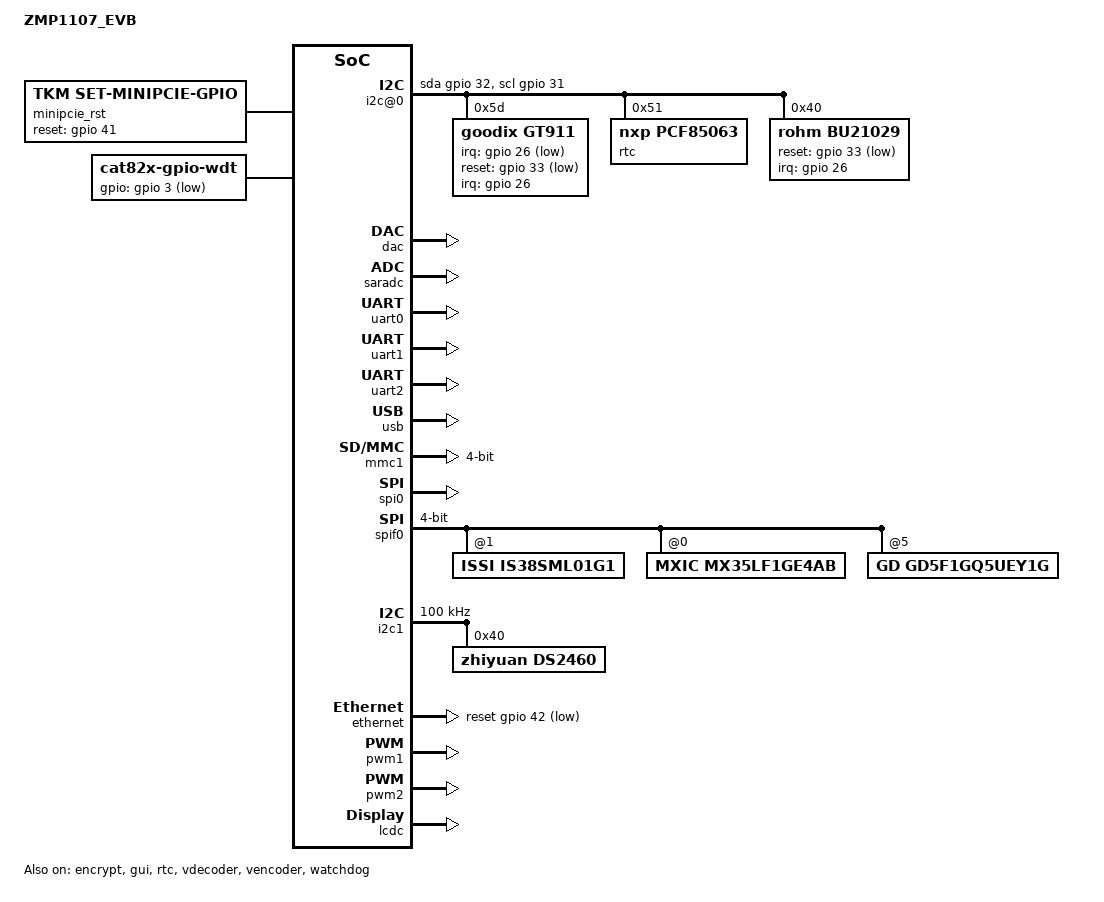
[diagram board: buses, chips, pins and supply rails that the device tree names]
/*
 * ZMP1107_EVB board rgb lcd dts
 *
 * This program is free software; you can redistribute it and/or modify
 * it under the terms of the GNU General Public License as published by
 * the Free Software Foundation; either version 2 of the License, or
 * (at your option) any later version.
 *
 * This program is distributed in the hope that it will be useful,
 * but WITHOUT ANY WARRANTY; without even the implied warranty of
 * MERCHANTABILITY or FITNESS FOR A PARTICULAR PURPOSE.  See the
 * GNU General Public License for more details.
 */

/dts-v1/;
#include "zmp1107.dtsi"

/ {
    compatible = "zlgmcu,zmp110x";
    model = "ZMP1107_EVB";
	version = "V1.0.00";

/*
    leds {
		compatible = "gpio-leds";
		pinctrl-names = "default";
		pinctrl-0 = <&run_led_pins>;
        status = "okay";
		led0: cpu {
			label = "cpu";
			gpios = <&gpio 3 1>;
			default-state = "on";
			linux,default-trigger = "heartbeat";
		};
	};
*/
    ramdisk:ramdisk{
        compatible = "zlgmcu,zmp110x-ramdisk";
        memory-region = <&dma_reserved>;
        status = "disable";
    };

    minipcie_rst:minipcie_rst{
        compatible = "TKM,Set-Minipcie-Gpio";
        pinctrl-names = "default";
        pinctrl-0 = <&minipcie_reset_pins>;
        reset-gpios = <&gpio 41 0>;
    };    
/*
    watchdog: watchdog {
        compatible = "linux,wdt-gpio";
        gpios = <&gpio 3 GPIO_ACTIVE_LOW>;
        pinctrl-names = "default";
        pinctrl-0 = <&wdt_pins>;
        hw_algo = "toggle";
        hw_margin_ms = <1500>;
        always-running;
    };
*/
	
	wdt: wdt {                                                                                                                                                             
	    compatible = "cat82x-gpio-wdt";
	    gpios = <&gpio 3 GPIO_ACTIVE_LOW>;
		pinctrl-names = "default";
		pinctrl-0 = <&wdt_pins>;
		hw_margin_ms = <700>;
	};


    i2c@0 {
        compatible = "i2c-gpio";
        pinctrl-names = "default";
        pinctrl-0 = <&i2c0_pins>;
        gpios = <&gpio 32 0 /* sda */
                &gpio 31 0 /* scl */
                >;
        i2c-gpio,sda-open-drain;
        i2c-gpio,scl-open-drain;
        i2c-gpio,delay-us = <2>;    /* ~100 kHz */
        #address-cells = <1>;
        #size-cells = <0>;

        gt911@5d {
	    compatible = "goodix,gt911";
	    reg = <0x5d>;
	    pinctrl-names = "default";
        pinctrl-0 = <&touch_pins>;
        irq-gpio = <&gpio 26 1>;
        reset-gpio = <&gpio 33 1>;
        interrupts = <26 2>;
        interrupt-parent = <&gpio>;
        status = "okay";
        
        goodix,cfg-group0 = [         
            ff 20 03 e0 01 05 0d 00 01 08 28 05 50 
            32 03 05 00 00 00 00 00 00 00 00 00 00 
            00 8b 2a 0c 17 15 31 0d 00 00 02 ba 03 
            2c 00 00 00 00 00 03 00 00 00 00 00 0f 
            41 94 c5 02 07 00 00 04 9b 11 00 77 17 
            00 5c 1f 00 48 2a 00 3b 38 00 3b 00 00 
            00 00 00 00 00 00 00 00 00 00 00 00 00 
            00 00 00 00 00 00 00 00 00 00 00 00 00
            00 00 00 00 00 00 00 00 02 04 06 08 0a 
            0c 0e 10 12 14 16 18 ff ff 00 00 00 00 
            00 00 00 00 00 00 00 00 00 00 00 00 00 
            02 04 06 08 0a 0c 0f 10 12 13 16 18 1c 
            1d 1e 1f 20 21 22 24 ff ff ff ff ff 00 
            00 00 00 00 00 00 00 00 00 00 00 00 00 
            00 00 59 01
        ];
        
	};  

    
    rtc@51 {
		compatible = "nxp,pcf85063";
		reg = <0x51>;
	}; 

    bu21029@40 {
			compatible = "rohm,bu21029";
			reg = <0x40>;
            pinctrl-names = "default";
            pinctrl-0 = <&touch_pins>;
			interrupt-parent = <&gpio>;
			interrupts = <26 2>;
			reset-gpios = <&gpio 33 GPIO_ACTIVE_LOW>;
			rohm,x-plate-ohms = <600>;
			touchscreen-size-x = <800>;
			touchscreen-size-y = <480>;
			touchscreen-max-pressure = <4095>;
		}; 
    };                                                                                                                                                                                         

};
/*--------------------------------------ZMP110x 片内外设-----------------------------------------*/
&dac {
    /*pinctrl-names = "default";
     pinctrl-0 = <&speak_pins>;
    
    ** speak-down,linein-detect,hp-mute,hp-detect
    ** 1 means enable these four function
    ** 0 means disable these four function
    */
    speak-down = <1>;
    linein-detect = <0>;
    hp-mute = <0>;
    hp-detect = <0>;
    /*speak-gpios = <&gpio 90 1>;
    the level of speak-gpios votage for power on audio: 0=low, 1=high*/
    speak-gpios-en = <1>;
    //linein-gpios = <&gpio 54 1>;    
    status = "okay";
};

&encrypt{
   /*
    * encrypt-mode
    * 0 = CRYPTO_SINGLE_GROUP_MODE ; 1 = CRYPTO_MULTI_GROUP_MODE
    */
    encrypt-mode = <1>;
    status = "okay";
};

&gui {
    status = "okay";
};

&rtc {
	/*
	 * rtc osc_source_select, 1 means INTERNAL RC OSC, 0 means EXTERNAL XTAL
	 * if internal RC OSC is used to generate 32KH,time adjustment should be setting.(basic unit: ms)
	 */
	osc-select = <0>;
	//adjust-time = <120000>;
	status = "okay";
};


&saradc{
    /* SAR ADC VREF selection
    * 0:To select AVCC 3.3V as VREF for SAR ADC.
    * 1:To select 3.0V generated from BGR as VREF for SAR ADC.
    */
    vref-select = <0>;
    /*
    * 0:To disable BAT voltage divider. 
    * 1:To enable BAT voltage divider divided by 2.
    */
    battery-divider = <1>;
    /*
    * Sampling number
    * Read the sampling data for N times and then calculate the average value.
    * N ranges from 1 to 7.
    */
     sampling-num = <3>;
     status = "okay";
};

&uart0 {
    pinctrl-names = "default";
	pinctrl-0 = <&uart0_pins>;
    status = "okay";
};

&uart1 {
	pinctrl-names = "default";
	pinctrl-0 = <&uart1_pins &rs485_dir_pins>;
	dir-gpios = <&gpio 40 1>; 
	status = "okay";
};


&uart2 {
	pinctrl-names = "default";
	pinctrl-0 = <&uart2_pins>;
	status = "okay";
};


&usb {
    status = "okay"; 
};

&vdecoder {
    status = "okay";
};

&vencoder {
    status = "okay";
};

&watchdog {
	/*max feed dog time = 357s, default setting time = 10s. */
    def_heartbeat = <10>;
    status = "okay";
};


/*-----------------------------------------------板载外设------------------------------------------------*/
&mmc1 {
    bus-width = <0x4>;
    max-frequency = <120000000>;
    pinctrl-names = "default";
    pinctrl-0 = <&mci1_pins &sd_detect_gpios>;
    detect-gpio = <&gpio 121 1>; 
    cap-sd-highspeed;
    status = "okay";
};

&spi0 {
    pinctrl-names = "default";
    pinctrl-0 = <&spiflash_pins>;
    cs-gpios = <&gpio 12 1>;
    spi-bus-frequency = <80000000>;
    /*
     * cap-spi-highspeed;
     * if defined, means high speed controller(Maximum 80M/s);
     * if not, means normal speed controller(below 60M/s)
     */
    cap-spi-highspeed;
    status = "okay";
};
&spif0 {
    compatible = "zlgmcu,zmp-spinand";//nand flash
	/* spi flash data bus width:
	** 1 means 1 wire mode.
	** 2 means 2 wire mode
	** 4 means 4 wire mode.
	** default: 4 wire mode.
	**/
	bus-width = <4>;
	status = "okay";

    IS38SML01G1: spi-nandflash@1 { 
		compatible = "ISSI,IS38SML01G1";
		nandflash-name = "IS38SML01G1";
		
		/* spiflash IS38SML01G1 */
		nandflash-jedec-id = <0xc8217f7f>; 
		nandflash-ext-id = <0>;
		nandflash-planecnt = <1>;
		nandflash-page_size = <2048>;
		nandflash-page_per_block = <64>;
		nandflash-block_size = <0x20000>;
		nandflash-n_blocks = <1024>;
		nandflash-oob_size = <64>;		  
		nandflash-oob_up_skiplen = <0>;
		nandflash-oob_seglen = <8>;
		nandflash-oob_down_skiplen = <8>;	
		nandflash-oob_seg_perpage = <4>;
		nandflash-oob_vail_data_offset = <8>;

		/*
		* flags = SFLAG_DUAL_READ|SFLAG_QUAD_READ|SFLAG_QUAD_WRITE
		* = 0x8A0
		*/
		nandflash-flags = <0x8A0>;
		nandflash-b_wip = <0>;		
		nandflash-b_wel = <1>;
		nandflash-b_efail = <2>;
		nandflash-b_pfaile = <3>;
		/*nandflash-b_qe = <8>; 	*/

		/* bad block flag ops */
		nandflash-badflag_offs = <0>;
		nandflash-badflag_len = <1>;

		/*
		 * 0x00000000:scan first one page
		 * 0x00008000:scan first two page
		 * 0x00010000:scan last  one page
		 * 0x00018000:scan last  two page
		 * 0x01000000:scan first and last page
		 */
		nandflash-badflag_option = <0x00008000>;	
		
		status = "okay";
	};

    MX35LF1GE4AB: spi-nandflash@0 { 
		compatible = "MXIC,MX35LF1GE4AB";
		nandflash-name = "MX35LF1GE4AB";
		
		/* spiflash MX35LF1GE4AB */
		nandflash-jedec-id = <0xc212c212>; 
		nandflash-ext-id = <0>;
		nandflash-page_size = <2048>;
		nandflash-page_per_block = <64>;
		nandflash-block_size = <0x20000>;
		nandflash-n_blocks = <1024>;
		nandflash-oob_size = <64>;		  
		nandflash-oob_up_skiplen = <0>;
		nandflash-oob_seglen = <12>;
		nandflash-oob_down_skiplen = <4>;
		nandflash-oob_seg_perpage = <4>;
		nandflash-oob_vail_data_offset = <4>;

		/*
		* flags = SFLAG_DUAL_READ|SFLAG_QUAD_READ|SFLAG_QUAD_WRITE
		* = 0x8A0
		*/
		nandflash-flags = <0x0>;

		/* status reg bit map */
		nandflash-b_wip = <0>;		
		nandflash-b_wel = <1>;		
		nandflash-b_efail = <2>;		
		nandflash-b_pfail = <3>;		
		nandflash-b_bp2 = <4>;		
		nandflash-b_bp3 = <5>;		
		nandflash-b_bp4 = <6>;		
		nandflash-b_srp0 = <7>; 	
		
		nandflash-b_qe = <8>; 	
		nandflash-b_srp1 = <9>;		
		nandflash-b_lb = <10>;		

		nandflash-b_cmp = <14>; 	
		nandflash-b_sus = <15>; 		

		/* bad block flag ops */
		nandflash-badflag_offs = <0>;
		nandflash-badflag_len = <1>;
		
		/*
		 * 0x00000000:scan first one page
		 * 0x00008000:scan first two page
		 * 0x00010000:scan last  one page
		 * 0x00018000:scan last  two page
		 * 0x01000000:scan first and last page
		 */
		nandflash-badflag_option = <0x01000000>;
		status = "okay";
	};

    GD5F1GQ5UEY1G: spi-nandflash@5 { 

		compatible = "GD,GD5F1GQ5UEY1G";
		nandflash-name = "GD5F1GQ5UEY1G";

		/* spiflash GD5F1GQ5UEY1G */
		nandflash-jedec-id = <0xc851c851>; 
		nandflash-ext-id = <0>;
		nandflash-planecnt = <1>;
		nandflash-page_size = <2048>;
		nandflash-page_per_block = <64>;
		nandflash-block_size = <0x20000>;
		nandflash-n_blocks = <1024>;
		nandflash-oob_size = <64>;		  
		nandflash-oob_up_skiplen = <0>;
		nandflash-oob_seglen = <12>;
		nandflash-oob_down_skiplen = <4>;	
		nandflash-oob_seg_perpage = <4>;
		nandflash-oob_vail_data_offset = <4>;

		/*
		* flags = SFLAG_DUAL_READ|SFLAG_QUAD_READ|SFLAG_QUAD_WRITE
		* = 0x8A0
		*/
		nandflash-flags = <0x8A0>;

		nandflash-b_wip = <0>;		

		nandflash-b_qe = <8>; 	

		/* bad block flag ops */

		nandflash-badflag_offs = <0>;
		nandflash-badflag_len = <1>;

		/*

		 * 0x00000000:scan first one page
		 * 0x00008000:scan first two page
		 * 0x00010000:scan last  one page
		 * 0x00018000:scan last  two page
		 * 0x01000000:scan first and last page
		 */

		nandflash-badflag_option = <0x01000000>;	
		status = "okay";

	};
};
/*
&i2c0 {
    pinctrl-names = "default";
    pinctrl-0 = <&i2c0_pins>;

    clock-frequency = <312000>;
    //clock-frequency = <117000>;
    sda-delay = <100>;
    status = "okay";
	#address-cells = <1>;
	#size-cells = <0>;
   
    gt911@5d {
	    compatible = "goodix,gt911";
	    reg = <0x5d>;
	    pinctrl-names = "default";
        pinctrl-0 = <&touch_pins>;
        irq-gpio = <&gpio 26 1>;
        reset-gpio = <&gpio 33 1>;
        interrupts = <26 2>;
        interrupt-parent = <&gpio>;
        status = "okay";
        
        goodix,cfg-group0 = [         
            ff 20 03 e0 01 05 0d 00 01 08 28 05 50 
            32 03 05 00 00 00 00 00 00 00 00 00 00 
            00 8b 2a 0c 17 15 31 0d 00 00 02 ba 03 
            2c 00 00 00 00 00 03 00 00 00 00 00 0f 
            41 94 c5 02 07 00 00 04 9b 11 00 77 17 
            00 5c 1f 00 48 2a 00 3b 38 00 3b 00 00 
            00 00 00 00 00 00 00 00 00 00 00 00 00 
            00 00 00 00 00 00 00 00 00 00 00 00 00
            00 00 00 00 00 00 00 00 02 04 06 08 0a 
            0c 0e 10 12 14 16 18 ff ff 00 00 00 00 
            00 00 00 00 00 00 00 00 00 00 00 00 00 
            02 04 06 08 0a 0c 0f 10 12 13 16 18 1c 
            1d 1e 1f 20 21 22 24 ff ff ff ff ff 00 
            00 00 00 00 00 00 00 00 00 00 00 00 00 
            00 00 59 01
        ];
        
	};  

    
    rtc@51 {
		compatible = "nxp,pcf85063";
		reg = <0x51>;
	};

    bu21029@40 {
			compatible = "rohm,bu21029";
			reg = <0x40>;
            pinctrl-names = "default";
            pinctrl-0 = <&touch_pins>;
			interrupt-parent = <&gpio>;
			interrupts = <26 2>;
			reset-gpios = <&gpio 33 GPIO_ACTIVE_LOW>;
			rohm,x-plate-ohms = <600>;
			touchscreen-size-x = <800>;
			touchscreen-size-y = <480>;
			touchscreen-max-pressure = <4095>;
		}; 
  
};
*/

&i2c1 {
    pinctrl-names = "default";
    pinctrl-0 = <&i2c1_pins>;

//    clock-frequency = <312000>;
    clock-frequency = <100000>;
    sda-delay = <300>;
    status = "okay";
	#address-cells = <1>;
	#size-cells = <0>;

    ds2460@40{
		compatible = "zhiyuan,ds2460";
		reg = <0x40>;
	};
    
};


&ethernet {
    pinctrl-names = "default";
    pinctrl-0 = <&ethernet_pins_rmii &phy_reset_pins>;
    reset-gpios = <&gpio 42 1>;
//   mac-address = [00 04 9F 01 1B B0];
    status = "okay";
};
/*
&pwm3 {
    pinctrl-names = "default";
    pinctrl-0 = <&pwm3_pins>;
    period-ns = <10000000>;
    duty-ns = <10000000>;
    pwm-enable = <1>;
    status = "okay";
};

&pwm4 {
    pinctrl-names = "default";
    pinctrl-0 = <&pwm4_pins>;
    period-ns = <1000000>;
    duty-ns = <500000>;
    pwm-enable = <0>;
    status = "okay";
};
*/

&pwm1 {
    pinctrl-names = "default";
    pinctrl-0 = <&pwm1_pins>;
    period-ns = <10000000>;
    duty-ns = <10000000>;
    pwm-enable = <1>;
    boot_initd = <1>;
    status = "okay";
};

&pwm2 {
    pinctrl-names = "default";
    pinctrl-0 = <&pwm2_pins>;
    period-ns = <1000000>;
    duty-ns = <500000>;
    pwm-enable = <0>;
    status = "okay";
};

&lcdc {
    pinctrl-names = "default";
    //pinctrl-0 = <&lcd_reset_pins>; //lcd_pins for rgb lcd, lcd_reset_pins only for mipi lcd
    pinctrl-0 = <&lcd_pins>;
    
    lcd-logo-width = <800>;
    lcd-logo-height = <480>;
    //[fmt1:fmt0] 00 16bits input(RGB565 or BGR565)
    //[fmt1:fmt0] 01 24bits input(RGB888 or BGR888)
    //[fmt1:fmt0] 10 or 11 32bits input(ARGB888 ABGR888 RGBA888 BGRA888)
    lcd-logo-fmt0 = <1>;
    lcd-logo-fmt1 = <0>;
    lcd-logo-rgb-seq = <1>; //0 for BGR, 1 for RGB  -> output seq ;use for framebuffer rgbseq
    
    lcd-fb-type = <1>; //0:single buffer; 1:double buffer

    lcd-alarm-empty = <128>;//FIFO empty
    lcd-alarm-full = <510>;//FIFO full
    lcd-dma-mode = <1>;
    //lcd-dummy-seq = <0>; //for 8bit rgb panel set
    //lcd-rgb-seq-sel = <0>;
    //lcd-rgb-odd-seq = <0>;
    //lcd-rgb-even-seq = <0>;
    lcd-rgb-tpg-sel = <1>;
    lcd-vpage-en = <0>; //don't support vpage function in driver
    lcd-blank-sel = <0>;
    lcd-pos-blank-level = <0>;
    lcd-neg-blank-level = <0>;
    lcd-rgb-bg-color = <0x00000000>;
    lcd-vh-delay-en = <0>;
    lcd-vh-delay-cycle = <0>;
    lcd-v-unit = <0>;
    lcd-alert-line = <30>;

    status = "okay";
 /*       
    LN48272: lcd-panel@6 { //for RGB panel setting
        panel-if = <0>;
        panel-rgb-seq = <1>; 
        panel-pclk-div = <15>; 
        panel-width = <800>;
        panel-thpw = <1>;
        panel-thb = <46>;
        panel-thf = <100>;
        panel-height = <480>;
        panel-tvpw = <1>;
        panel-tvb = <23>;
        panel-tvf = <22>;
        panel-pclk-pol = <0>; //0:pos, 1:neg
        panel-hsync-pol = <0>;
        panel-vsync-pol = <0>;
        panel-vogate-pol = <0>;
        panel-bus-width = <3>; 
        panel-sync-mode = <1>;
        status = "okay";
    };  */

    LN80480: lcd-panel@6 { //for RGB panel setting
        panel-if = <0>;
        panel-rgb-seq = <1>; 
        panel-pclk-div = <20>;
        panel-width = <800>;
        panel-thpw = <14>;
        panel-thb = <30>;
        panel-thf = <160>;
        panel-height = <480>;
        panel-tvpw = <4>;
        panel-tvb = <23>;
        panel-tvf = <10>;
        panel-pclk-pol = <0>; //0:pos, 1:neg
        panel-hsync-pol = <1>;
        panel-vsync-pol = <1>;
        panel-vogate-pol = <0>;
        panel-bus-width = <3>;
        panel-sync-mode = <1>;
        status = "okay";
    };   
/*
     LN80480: lcd-panel@6 { //for RGB panel setting
        panel-if = <0>;
        panel-rgb-seq = <1>; 
        panel-pclk-div = <15>;
        panel-width = <800>;
        panel-thpw = <4>;
        panel-thb = <46>;
        panel-thf = <150>;
        panel-height = <480>;
        panel-tvpw = <2>;
        panel-tvb = <23>;
        panel-tvf = <120>;
        panel-pclk-pol = <0>; //0:pos, 1:neg
        panel-hsync-pol = <0>;
        panel-vsync-pol = <0>;
        panel-vogate-pol = <0>;
        panel-bus-width = <3>;
        panel-sync-mode = <1>;
        status = "okay";
    }; */
};


&gpio {
    /* zmp,function sharepin func index according to table 2-1 sharepin-list */
    /* index: 0: PIN default func, 1: FUNCTION1, 2: FUNCTION2, 3: FUNCTION3, 4: FUNCTION4 */
    /* zmp,pull config value bit[31:24]--slew rate, bit[23:16]--ie, bit[15:8]--drive, bit[7:0]--pupd config */
    /* bit[31:24]--slew rate, 0: slow, 1: fast */
    /* bit[23:16]--ie, input enable, 0: disable, 1: enable */
    /* bit[15:8]--drive, drive strength, 4levels value: 0x0-0x3 */
    /* bit[7:0]--bit[7]: open drain 0:disable, 1:enable (only for gpio31/32);
				pupd config, bit[6:4] 1:enable/ 0:disable, bit[3:0] 0:select PU /1:select PD */   
 /*    
    pwm0_pins: pwm0_pins {
        zmp,pins = <3>;
        zmp,function = <1>;
        zmp,pull = <0x01011110>;
    };   */

    minipcie_reset_pins:minipcie_reset_pins {
        zmp,pins = <41>;
        zmp,function = <0>;
        zmp,pull = <0x01001110>;
    };    

    wdt_pins:wdt_pins {
        zmp,pins = <3>;
        zmp,function = <0>;
        zmp,pull = <0x01001110>;
    };
/*
    pwm3_pins: pwm3_pins {
        zmp,pins = <27>;
        zmp,function = <2>;
        zmp,pull = <0x01011110>;
    };
 
    pwm4_pins: pwm4_pins {
        zmp,pins = <28>;
        zmp,function = <2>;
        zmp,pull = <0x01011110>;
    };     
*/

    pwm1_pins: pwm1_pins {
        zmp,pins = <38>;
        zmp,function = <2>;
        zmp,pull = <0x01011110>;
    };
 
    pwm2_pins: pwm2_pins {
        zmp,pins = <39>;
        zmp,function = <2>;
        zmp,pull = <0x01011110>;
    };  

    sd_detect_gpios: sd_detect_gpios {
	    //zmp,pins = <80>;
        zmp,pins = <121>;
	    zmp,function = <0>;
        zmp,pull = <0x01010011>;
    };

    run_led_pins: run_led_pins {
	    zmp,pins = <3>;
	    zmp,function = <0>;
        zmp,pull = <0x01000310>;/* 上拉输出 */
    };
	
	rs485_dir_pins: rs485_dir_pins {
		zmp,pins = <40>;
		zmp,function = <0>;
		zmp,pull = <0x01000311>;
	};

	phy_reset_pins: phy_reset_pins {
		zmp,pins = <42>;		
	    zmp,function = <0>;
        zmp,pull = <0x01000010>;
    };
/*
    i2c0_pins: i2c0_pins {
        zmp,pins = <31 32>;
        zmp,function = <1>;
        zmp,pull = <0x01010380>;// i2c0的引脚改为开漏输出 
    };  */

    i2c0_pins: i2c0_pins {
        zmp,pins = <31 32>;
        zmp,function = <0>;
        zmp,pull = <0x01010380>;/* i2c0的引脚改为开漏输出 */
    };

    i2c1_pins: i2c1_pins {
        zmp,pins = <27 28>;
        zmp,function = <3>;
        zmp,pull = <0x01010110>;
    };

    touch_pins: gt911_pins {
        zmp,pins = <26 33>;
        zmp,function = <0>;
        zmp,pull = <0x01010000 0x01000110>;//71->INT:浮空输入，73->RST:下拉输出
    };

    mci1_pins: mci1_pins {
        zmp,pins = <43 44 45 46 47 48>;
        zmp,function = <1>;
        zmp,pull = <0x10010 0x10000 0x10010 0x10010 0x10010 0x10010>; /* 4 line */
    };
/*
    mci2_pins: mci2_pins {
        zmp,pins = <91 92 93 94 95 96>;
        zmp,function = <2 2 3 3 3 3>;
        zmp,pull = <0x01010010 0x01010010 0x01010010 0x01010010 0x01010010 0x01010010>;
    };
*/
    spiflash_pins: spiflash_pins {
        zmp,pins = <12 67 68 69 70>; /* 4 LINE mode, 12 is spi nor cs*/
        zmp,function = <1 0 0 0 0>;
        zmp,pull = <0x01010010>;
    };

   lcd_pins: lcd_pins {
        zmp,pins = <71 72 73 74 75 76 77 78 79 80 81 82 83 84 85 86 87 88 89 90 91 92 93 94 95 96 97 98>;
        zmp,function = <1>;
        zmp,pull = <0x01010310>;
    };
    
 /*   
    lcd_reset_pins: lcd_reset_pins {
	    zmp,pins = <77>;
	    zmp,function = <0>;
        zmp,pull = <0x01000310>;
    };      */

    uart0_pins: uart0_pins {
        zmp,pins = <1 2>;
        zmp,function = <1>;
        zmp,pull = <0x01010010>;
    };
    
    uart1_pins: uart1_pins {
		zmp,pins = <36 37>;
		zmp,function = <2 3>;
		zmp,pull = <0x01010010 0x01010010>;
	};

    uart2_pins: uart2_pins {
		zmp,pins = <34 35>;
		zmp,function = <2>;
		zmp,pull = <0x01010010>;
	};

    ethernet_pins_rmii: ethernet_pins_rmii {
		zmp,pins 		= <10 11 13 14 15 19 20 23 24 49>;
        zmp,function 	= <1>;
        zmp,pull = <0x01010011 0x01010010 0x01010011 0x01010011 0x01010011 0x01010011 0x01010011 0x01010011 0x01010011 0x01010110>;
    };
};
